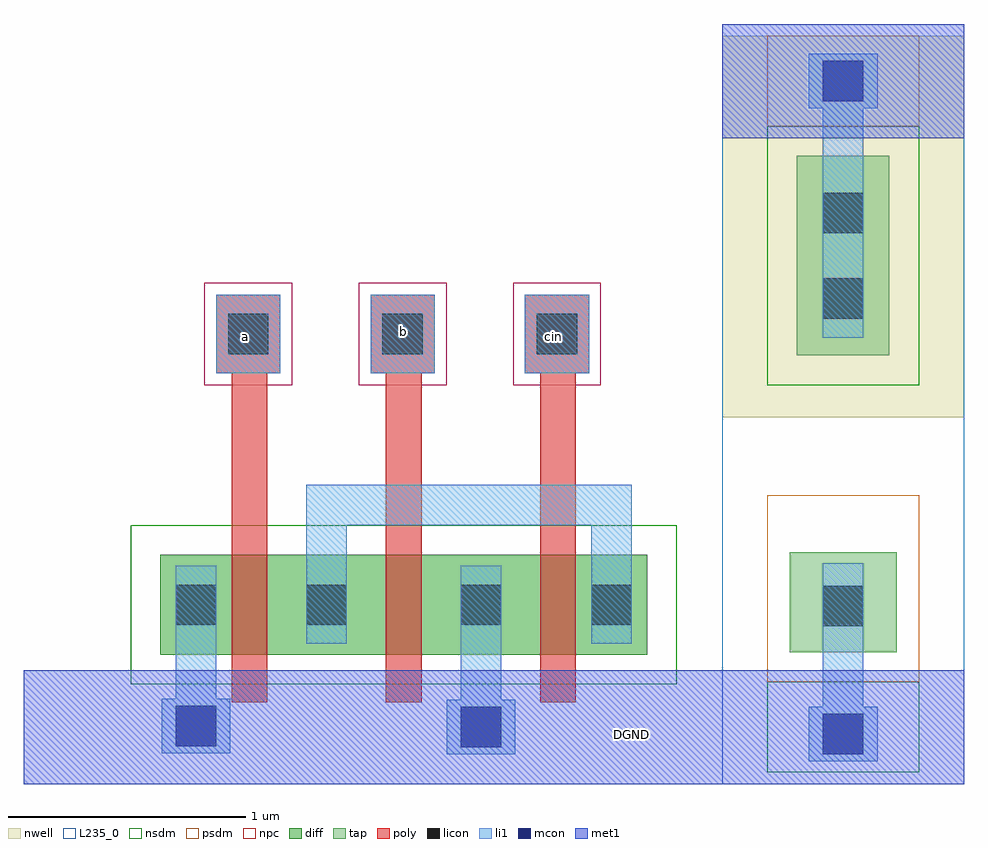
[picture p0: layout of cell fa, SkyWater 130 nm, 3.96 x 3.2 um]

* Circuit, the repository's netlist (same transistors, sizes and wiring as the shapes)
** sch_path: /home/ee24s053/ee5311-2025/tut6/incr/fa.sch
.subckt fa a b cin DGND
*.PININFO a:I b:I cin:I DGND:B
XM1 net1 a DGND DGND sky130_fd_pr__nfet_01v8 L=0.15 W=0.42 nf=1 m=1
XM2 net1 b DGND DGND sky130_fd_pr__nfet_01v8 L=0.15 W=0.42 nf=1 m=1
XM3 net1 cin DGND DGND sky130_fd_pr__nfet_01v8 L=0.15 W=0.42 nf=1 m=1
.ends
.end

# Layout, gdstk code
from math import pi, radians
import gdstk
lib = gdstk.Library(unit=1e-6, precision=1e-09)
def R(c, l, rs):  # rectangles x0, y0, x1, y1
    for r in rs: c.add(gdstk.rectangle(r[:2], r[2:], *l))
def A(c, l, x, y, w, h, nx, ny, dx, dy):  # array of equal rectangles
    R(c, l, [(x+i*dx, y+j*dy, x+i*dx+w, y+j*dy+h) for i in range(nx) for j in range(ny)])
nwell = (64, 20)
diff = (65, 20)
tap = (65, 44)
poly = (66, 20)
licon = (66, 44)
li1 = (67, 20)
mcon = (67, 44)
met1 = (68, 20)
nsdm = (93, 44)
psdm = (94, 20)
npc = (95, 20)
L235_0 = (235, 0)

nfet = lib.new_cell('nfet')
R(nfet, diff, [(0,0,2.05,0.42)])
A(nfet, poly, 0.3, -0.2, 0.15, 0.82, 3, 1, 0.65, 0)
R(nfet, licon, [(0.065,0.125,0.235,0.295), (0.615,0.125,0.785,0.295), (1.265,0.125,1.435,0.295), (1.815,0.125,1.985,0.295)])
R(nfet, li1, [(0.065,0.045,0.235,0.375), (0.615,0.045,0.785,0.375), (1.265,0.045,1.435,0.375), (1.815,0.045,1.985,0.375)])
R(nfet, nsdm, [(-0.125,-0.125,2.175,0.545)])

vias_gen = lib.new_cell('vias_gen')
R(vias_gen, li1, [(0,0,0.29,0.23)])
R(vias_gen, mcon, [(0.06,0.03,0.23,0.2)])
R(vias_gen, met1, [(0,0,0.29,0.23)])

tap_ = lib.new_cell('tap')
R(tap_, nwell, [(-1.455,0.92,-0.435,2.525)])
R(tap_, tap, [(-1.17,-0.07,-0.72,0.35), (-1.14,1.18,-0.75,2.02)])
R(tap_, licon, [(-1.03,0.04,-0.86,0.21), (-1.03,1.335,-0.86,1.505), (-1.03,1.695,-0.86,1.865)])
R(tap_, li1, [(-1.03,-0.3,-0.86,-0.025), (-1.03,-0.025,-0.86,0.305), (-1.03,1.255,-0.86,1.945), (-1.03,1.945,-0.86,2.25)])
R(tap_, met1, [(-1.455,-0.625,-0.435,-0.145), (-1.455,2.095,-0.435,2.575)])
R(tap_, nsdm, [(-1.265,-0.575,-0.625,-0.195), (-1.265,1.055,-0.625,2.145)])
R(tap_, psdm, [(-1.265,-0.195,-0.625,0.59), (-1.265,2.145,-0.625,2.525)])
R(tap_, L235_0, [(-1.455,-0.625,-0.435,2.575)])
tap_.add(gdstk.Reference(vias_gen, (-1.09,-0.53)))
tap_.add(gdstk.Reference(vias_gen, (-1.09,2.22)))

vias_gen_1 = lib.new_cell('vias_gen$1')
R(vias_gen_1, li1, [(0,0,0.29,0.23)])
R(vias_gen_1, mcon, [(0.06,0.03,0.23,0.2)])
R(vias_gen_1, met1, [(0,0,0.29,0.23)])

vias_gen_2 = lib.new_cell('vias_gen$2')
R(vias_gen_2, poly, [(0,0,0.33,0.27)])
R(vias_gen_2, licon, [(0.08,0.05,0.25,0.22)])
R(vias_gen_2, li1, [(0,0,0.33,0.27)])
R(vias_gen_2, npc, [(-0.05,-0.05,0.38,0.32)])

c_fa = lib.new_cell('fa')
R(c_fa, met1, [(-1.825,-0.865,1.115,-0.385)])
c_fa.add(gdstk.FlexPath([(-0.55,0.055),(-0.55,0.31),(0.65,0.31),(0.65,0.055)], 0.17, ends="flush", simple_path=True, layer=67, datatype=20))  # li1
c_fa.add(gdstk.FlexPath([(0.1,-0.275),(0.1,-0.51)], 0.17, ends="flush", simple_path=True, layer=67, datatype=20))  # li1
c_fa.add(gdstk.FlexPath([(-1.1,-0.27),(-1.1,-0.505)], 0.17, ends="flush", simple_path=True, layer=67, datatype=20))  # li1
c_fa.add(gdstk.FlexPath([(-0.875,0.3),(-0.875,0.865)], 0.15, ends="flush", simple_path=True, layer=66, datatype=20))  # poly
c_fa.add(gdstk.FlexPath([(-0.225,0.3),(-0.225,0.865)], 0.15, ends="flush", simple_path=True, layer=66, datatype=20))  # poly
c_fa.add(gdstk.FlexPath([(0.425,0.3),(0.425,0.865)], 0.15, ends="flush", simple_path=True, layer=66, datatype=20))  # poly
c_fa.add(gdstk.Reference(nfet, (-1.25,-0.32)))
c_fa.add(gdstk.Reference(tap_, (2.57,-0.24)))
c_fa.add(gdstk.Reference(vias_gen_1, (-0.045,-0.74)))
c_fa.add(gdstk.Reference(vias_gen_1, (-1.245,-0.735)))
c_fa.add(gdstk.Reference(vias_gen_2, (-0.745,0.865), rotation=pi/2))
c_fa.add(gdstk.Reference(vias_gen_2, (-0.095,0.865), rotation=pi/2))
c_fa.add(gdstk.Reference(vias_gen_2, (0.555,0.865), rotation=pi/2))
c_fa.add(gdstk.Label('DGND', (0.735,-0.655), layer=68, texttype=5))
c_fa.add(gdstk.Label('a', (-0.89,1.02), layer=67, texttype=5))
c_fa.add(gdstk.Label('b', (-0.225,1.04), layer=67, texttype=5))
c_fa.add(gdstk.Label('cin', (0.405,1.02), layer=67, texttype=5))

lib.write_gds('fa.gds')
